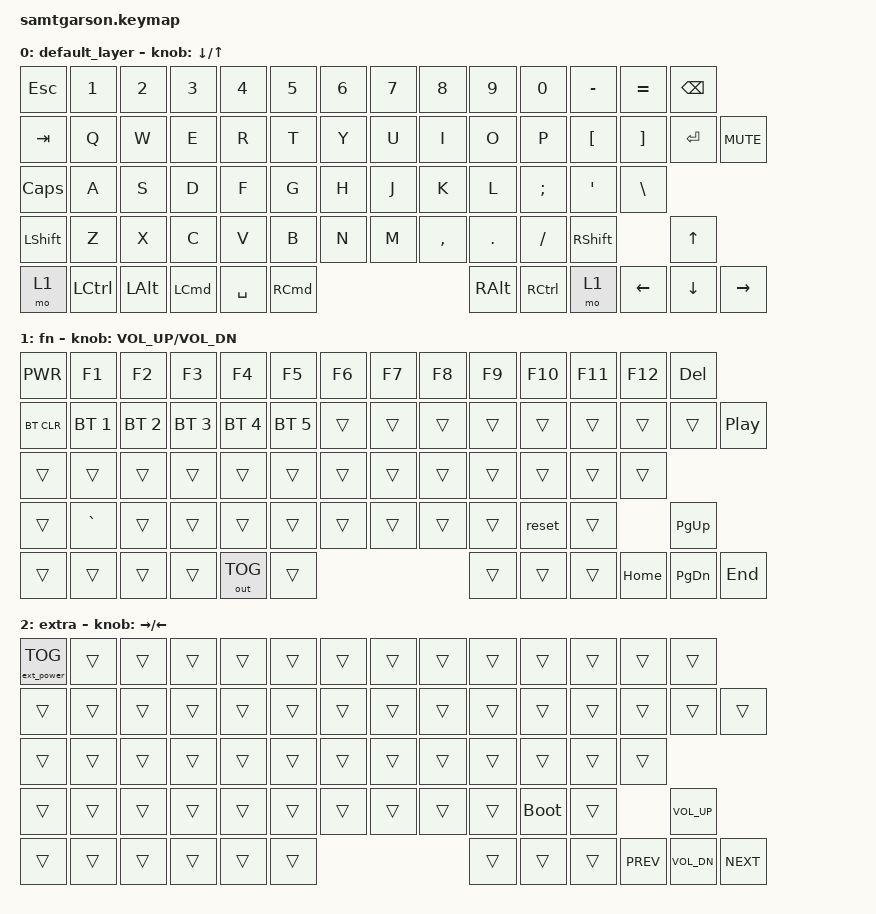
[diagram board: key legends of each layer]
#include <behaviors.dtsi>
#include <dt-bindings/zmk/keys.h>
#include <dt-bindings/zmk/bt.h>
#include <dt-bindings/zmk/outputs.h>
#include <dt-bindings/zmk/ext_power.h>

/ {
    combos {
        compatible = "zmk,combos";
        combo_left_m2 {
            timeout-ms = <50>;
            key-positions = <55 58>;
            bindings = <&mo 2>;
        };
        combo_right_m2 {
            timeout-ms = <50>;
            key-positions = <60 63>;
            bindings = <&mo 2>;
        };
    };

    keymap {
        compatible = "zmk,keymap";

        default_layer {
            // | ESC  |  1   |  2   |  3   |  4   |  5   |  6   |  7   |  8   |  9   |  0   |  =   |  -   |    BCKSP    |
            // | TAB  |  Q   |  W   |  E   |  R   |  T   |  Y   |  U   |  I   |  O   |  P   |  [   |  ]   | ENTR | MUTE |
            // | CAP  |  A   |  S   |  D   |  F   |  G   |  H   |  J   |  K   |  L   |  ;   |  '   |  \   |      |      |
            // | LSHF |  Z   |  X   |  C   |  V   |  B   |  N   |  M   |  ,   |  .   |  /   |    RSHFT    |  UP  |      |
            // | MO(1)  | LCTRL  |  LALT  | LGUI  |    SPACE    | RGUI   |  RALT  |  RCTRL | MO(1) | LEFT | DOWN | RGHT |
            //
            bindings = <
            &kp ESC   &kp N1    &kp N2   &kp N3   &kp N4    &kp N5   &kp N6   &kp N7    &kp N8    &kp N9   &kp N0   &kp MINUS &kp EQUAL      &kp BSPC
            &kp TAB   &kp Q     &kp W    &kp E    &kp R     &kp T    &kp Y    &kp U     &kp I     &kp O    &kp P    &kp LBKT  &kp RBKT  &kp ENTER &kp K_MUTE
            &kp CAPS  &kp A     &kp S    &kp D    &kp F     &kp G    &kp H    &kp J     &kp K     &kp L    &kp SEMI &kp SQT &kp BSLH
            &kp LSHFT &kp Z     &kp X    &kp C    &kp V     &kp B    &kp N    &kp M     &kp COMMA &kp DOT  &kp FSLH      &kp RSHFT     &kp UP
            &mo 1      &kp LCTRL    &kp LALT    &kp LCMD       &kp SPACE      &kp RCMD     &kp RALT    &kp RCTRL    &mo 1      &kp LEFT  &kp DOWN  &kp RIGHT
            >;

            sensor-bindings = <&inc_dec_kp DOWN UP>;
        };

        fn {
            // | SLEEP  | FN 1 | FN 2 | FN 3 | FN 4 | FN 5 | FN 6 | FN 7 | FN 8 | FN 9 | FN 10 | FN 11 | FN 12 |     DEL     |
            // | BT CLR | BT 1 | BT 2 | BT 3 | BT 4 | BT 5 |      |      |      |      |       |       |       |      | PLAY |
            // |        |      |      |      |      |      |      |      |      |      |       |       |       |      |      |
            // |        |      |      |      |      |      |      |      |      |      | RESET |               | PGUP |      |
            // |          |        |        |       |  TOGGLE BT  |         |        |        |        | HOME  | PGDN | END  |
            //
            bindings = <
            &kp C_PWR  &kp F1       &kp F2       &kp F3       &kp F4       &kp F5       &kp F6    &kp F7    &kp F8    &kp F9    &kp F10   &kp F11 &kp F12    &kp DEL
            &bt BT_CLR &bt BT_SEL 1 &bt BT_SEL 2 &bt BT_SEL 3 &bt BT_SEL 4 &bt BT_SEL 5 &trans    &trans    &trans    &trans    &trans    &trans  &trans  &trans  &kp C_PP
            &trans     &trans       &trans       &trans       &trans       &trans       &trans    &trans    &trans    &trans    &trans    &trans  &trans
            &trans     &kp GRAVE    &trans       &trans       &trans       &trans       &trans    &trans    &trans    &trans    &reset       &trans      &kp PG_UP
            &trans          &trans          &trans         &trans          &out OUT_TOG         &trans       &trans       &trans    &trans   &kp HOME    &kp PG_DN &kp END
            >;

            sensor-bindings = <&inc_dec_kp C_VOL_UP C_VOL_DN>;
        };

        extra {
            // |EXT PWR |      |      |      |      |      |      |      |      |      |       |       |       |                |
            // |        |      |      |      |      |      |      |      |      |      |       |       |       |        |       |
            // |        |      |      |      |      |      |      |      |      |      |       |       |       |        |       |
            // |        |      |      |      |      |      |      |      |      |      | BTLDR |               | VOL DN |       |
            // |          |        |        |       |             |         |        |        |        | PREV  | VOL UP | NEXT  |
            //
            bindings = <
            &ext_power EP_TOG &trans &trans &trans &trans &trans &trans &trans &trans &trans &trans &trans &trans        &trans
            &trans &trans &trans &trans &trans &trans &trans &trans &trans &trans &trans &trans &trans     &trans       &trans
            &trans &trans &trans &trans &trans &trans &trans &trans &trans &trans &trans &trans &trans
            &trans &trans &trans &trans &trans &trans &trans &trans &trans &trans &bootloader      &trans  &kp C_VOL_UP
            &trans   &trans   &trans   &trans     &trans     &trans   &trans   &trans   &trans  &kp C_PREV &kp C_VOL_DN &kp C_NEXT
            >;

            sensor-bindings = <&inc_dec_kp RIGHT LEFT>;
        };

        /* blank { */
        /*     // |        |      |      |      |      |      |      |      |      |      |       |       |       |             | */
        /*     // |        |      |      |      |      |      |      |      |      |      |       |       |       |      |      | */
        /*     // |        |      |      |      |      |      |      |      |      |      |       |       |       |      |      | */
        /*     // |        |      |      |      |      |      |      |      |      |      |       |               |      |      | */
        /*     // |          |        |        |       |             |         |        |        |        |       |      |      | */
        /*     // */
        /*     bindings = < */
        /*     &trans &trans &trans &trans &trans &trans &trans &trans &trans &trans &trans &trans &trans    &trans     */
        /*     &trans &trans &trans &trans &trans &trans &trans &trans &trans &trans &trans &trans &trans &trans &trans */
        /*     &trans &trans &trans &trans &trans &trans &trans &trans &trans &trans &trans &trans &trans               */
        /*     &trans &trans &trans &trans &trans &trans &trans &trans &trans &trans &reset     &trans    &trans        */
        /*     &trans   &trans   &trans   &trans     &trans     &trans   &trans   &trans   &trans  &trans &trans &trans */
        /*     >; */

        /*     sensor-bindings = <>; */
        /* }; */
    };
};
